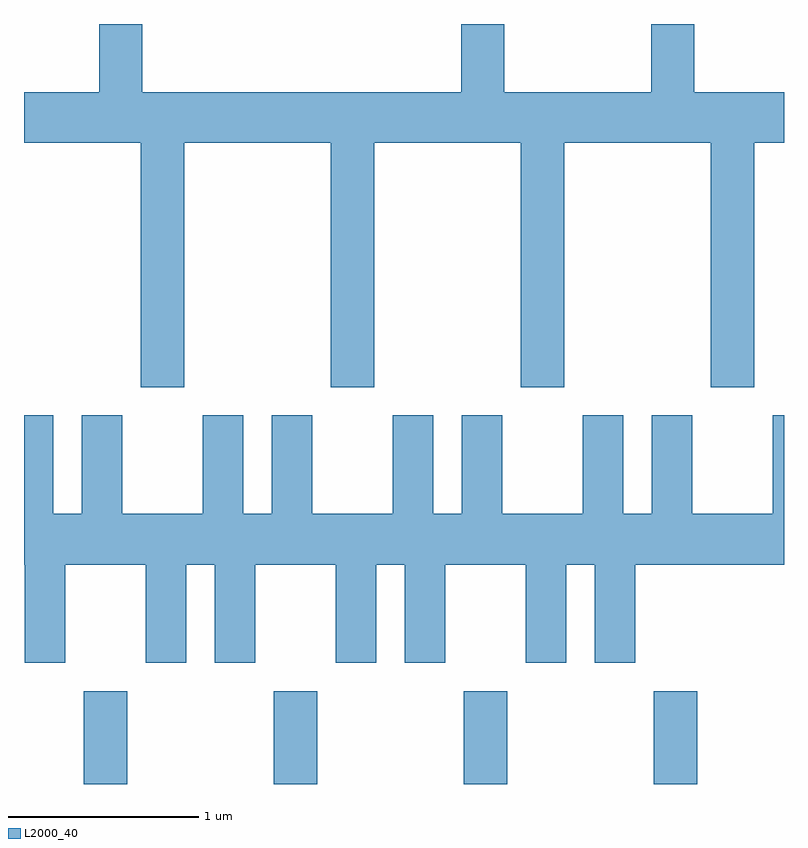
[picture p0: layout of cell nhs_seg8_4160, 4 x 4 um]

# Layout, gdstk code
import gdstk
lib = gdstk.Library(unit=1e-6, precision=1e-09)
def R(c, l, rs):  # rectangles x0, y0, x1, y1
    for r in rs: c.add(gdstk.rectangle(r[:2], r[2:], *l))
def A(c, l, x, y, w, h, nx, ny, dx, dy):  # array of equal rectangles
    R(c, l, [(x+i*dx, y+j*dy, x+i*dx+w, y+j*dy+h) for i in range(nx) for j in range(ny)])
def P(c, l, *ps):  # polygons
    for p in ps: c.add(gdstk.Polygon(p, *l))
L2000_40 = (2000, 40)

nhs_seg8_4160 = lib.new_cell('nhs_seg8_4160')
A(nhs_seg8_4160, L2000_40, 309.926, 1866.342, 0.228, 0.487, 4, 1, 1, 0)
P(nhs_seg8_4160, L2000_40, [(310.454,1869.716),(311.226,1869.716),(311.226,1868.431),(311.454,1868.431),(311.454,1869.716),(312.226,1869.716),(312.226,1868.431),(312.454,1868.431),(312.454,1869.716),(313.226,1869.716),(313.226,1868.431),(313.454,1868.431),(313.454,1869.716),(313.611,1869.716),(313.611,1869.984),(313.139,1869.984),(313.139,1870.342),(312.911,1870.342),(312.911,1869.984),(312.139,1869.984),(312.139,1870.342),(311.911,1870.342),(311.911,1869.984),(310.234,1869.984),(310.234,1870.342),(310.006,1870.342),(310.006,1869.984),(309.611,1869.984),(309.611,1869.716),(310.226,1869.716),(310.226,1868.431),(310.454,1868.431)],
  [(310.251,1866.981),(310.464,1866.981),(310.464,1867.496),(310.616,1867.496),(310.616,1866.981),(310.829,1866.981),(310.829,1867.496),(311.251,1867.496),(311.251,1866.981),(311.464,1866.981),(311.464,1867.496),(311.616,1867.496),(311.616,1866.981),(311.829,1866.981),(311.829,1867.496),(312.251,1867.496),(312.251,1866.981),(312.464,1866.981),(312.464,1867.496),(312.616,1867.496),(312.616,1866.981),(312.829,1866.981),(312.829,1867.496),(313.611,1867.496),(313.611,1868.284),(313.551,1868.284),(313.551,1867.764),(313.129,1867.764),(313.129,1868.284),(312.916,1868.284),(312.916,1867.764),(312.764,1867.764),(312.764,1868.284),(312.551,1868.284),(312.551,1867.764),(312.129,1867.764),(312.129,1868.284),(311.916,1868.284),(311.916,1867.764),(311.764,1867.764),(311.764,1868.284),(311.551,1868.284),(311.551,1867.764),(311.129,1867.764),(311.129,1868.284),(310.916,1868.284),(310.916,1867.764),(310.764,1867.764),(310.764,1868.284),(310.551,1868.284),(310.551,1867.764),(310.129,1867.764),(310.129,1868.284),(309.916,1868.284),(309.916,1867.764),(309.764,1867.764),(309.764,1868.284),(309.611,1868.284),(309.611,1867.496),(309.616,1867.496),(309.616,1866.981),(309.829,1866.981),(309.829,1867.496),(310.251,1867.496)])

lib.write_gds('nhs_seg8_4160.gds')
